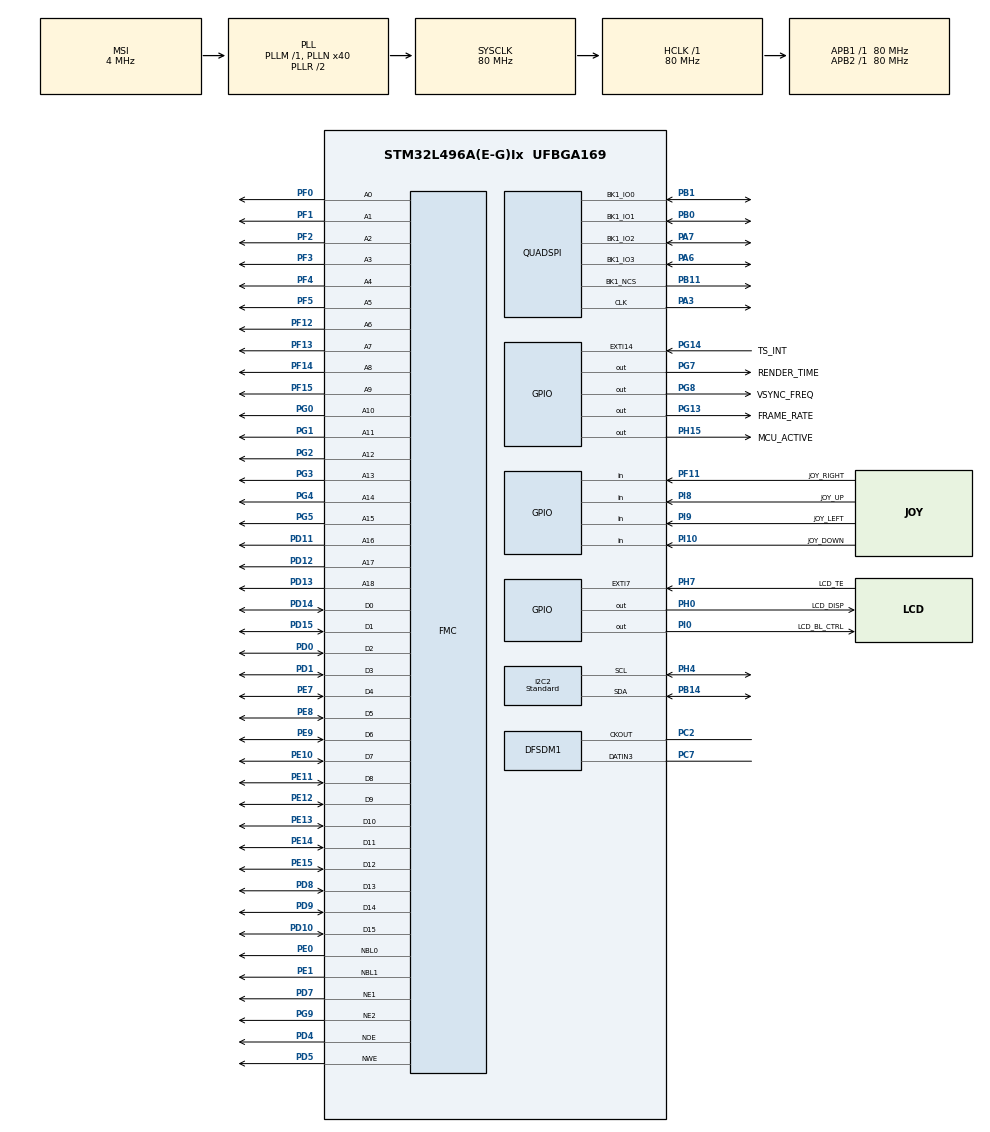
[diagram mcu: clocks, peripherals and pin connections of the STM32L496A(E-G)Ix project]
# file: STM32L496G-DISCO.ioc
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DFSDM1.Divider=25
DFSDM1.DmaMode_reg_FIL0=ENABLE
DFSDM1.FastMode_reg_FIL0=ENABLE
DFSDM1.Filter_regChannel_FIL0=DFSDM_CHANNEL_2
DFSDM1.Fosr_FIL0=256
DFSDM1.Iosr_FIL0=1
DFSDM1.RightBitShift_CH2=0x02
DFSDM1.Selection=DFSDM_CHANNEL_OUTPUT_CLOCK_SYSTEM
DFSDM1.SincOrder_FIL0=DFSDM_FILTER_SINC3_ORDER
DMA2D.ColorMode=DMA2D_OUTPUT_RGB565
DMA2D.Mode=DMA2D_R2M
Dma.DFSDM1_FLT0.0.Direction=DMA_PERIPH_TO_MEMORY
Dma.DFSDM1_FLT0.0.Instance=DMA1_Channel4
Dma.DFSDM1_FLT0.0.MemDataAlignment=DMA_MDATAALIGN_WORD
Dma.DFSDM1_FLT0.0.MemInc=DMA_MINC_ENABLE
Dma.DFSDM1_FLT0.0.Mode=DMA_CIRCULAR
Dma.DFSDM1_FLT0.0.PeriphDataAlignment=DMA_PDATAALIGN_WORD
Dma.DFSDM1_FLT0.0.PeriphInc=DMA_PINC_DISABLE
Dma.DFSDM1_FLT0.0.Priority=DMA_PRIORITY_LOW
Dma.Request0=DFSDM1_FLT0
FMC.AddressSetupTime1=5
FMC.AddressSetupTime2=5
FMC.BusTurnAroundDuration1=0
FMC.BusTurnAroundDuration2=1
FMC.DataSetupTime1=3
FMC.DataSetupTime2=3
FMC.ExtendedMode1=FMC_EXTENDED_MODE_DISABLE
FMC.ExtendedMode2=FMC_EXTENDED_MODE_DISABLE
FMC.WriteFifo1=FMC_WRITE_FIFO_DISABLE
FMC.WriteFifo2=FMC_WRITE_FIFO_DISABLE
FMC.WriteFifo3=FMC_WRITE_FIFO_DISABLE
FMC.WriteFifo4=FMC_WRITE_FIFO_DISABLE
FMC.WriteOperation2=FMC_WRITE_OPERATION_ENABLE
I2C2.Analog_Filter=I2C_ANALOGFILTER_DISABLE
I2C2.I2C_Coeff_DF=0
I2C2.I2C_Fall_Time=0
I2C2.I2C_Rise_Time=0
I2C2.I2C_Speed_Mode=I2C_Standard
I2C2.OwnAddress=0
I2C2.Timing=0x10909EEE
Mcu.Family=STM32L4
Mcu.Name=STM32L496A(E-G)Ix
Mcu.Package=UFBGA169
NVIC.DMA1_Channel4_IRQn=true\:0\:0\:false\:false\:true\:false\:true\:true
NVIC.DMA2D_IRQn=true\:6\:0\:true\:false\:true\:true\:true\:true
NVIC.EXTI15_10_IRQn=true\:0\:0\:false\:false\:true\:true\:true\:true
NVIC.EXTI9_5_IRQn=true\:5\:0\:true\:false\:true\:true\:true\:true
NVIC.I2C2_EV_IRQn=true\:0\:0\:true\:false\:true\:true\:true\:true
NVIC.PriorityGroup=NVIC_PRIORITYGROUP_4
NVIC.TIM6_DAC_IRQn=true\:15\:0\:false\:false\:true\:false\:true\:true
NVIC.TimeBase=TIM6_DAC_IRQn
NVIC.TimeBaseIP=TIM6
PA3.Mode=Single Bank 1
PA3.Signal=QUADSPI_CLK
PA6.Mode=Single Bank 1
PA6.Signal=QUADSPI_BK1_IO3
PA7.Mode=Single Bank 1
PA7.Signal=QUADSPI_BK1_IO2
PB0.Mode=Single Bank 1
PB0.Signal=QUADSPI_BK1_IO1
PB1.Mode=Single Bank 1
PB1.Signal=QUADSPI_BK1_IO0
PB11.Mode=Single Bank 1
PB11.Signal=QUADSPI_BK1_NCS
PB12.Signal=S_DATAIN1DFSDM1
PB14.GPIO_Pu=GPIO_PULLUP
PB14.Mode=I2C
PB14.Signal=I2C2_SDA
PC14-OSC32_IN\ (PC14).Mode=LSE-External-Oscillator
PC14-OSC32_IN\ (PC14).Signal=RCC_OSC32_IN
PC15-OSC32_OUT\ (PC15).Mode=LSE-External-Oscillator
PC15-OSC32_OUT\ (PC15).Signal=RCC_OSC32_OUT
PC2.Signal=S_CKOUTDFSDM1
PC7.Signal=S_DATAIN3DFSDM1
PD0.Signal=FMC_D2_DA2
PD1.Signal=FMC_D3_DA3
PD10.Signal=FMC_D15_DA15
PD11.Signal=FMC_A16_CLE
PD12.Signal=FMC_A17_ALE
PD13.Signal=FMC_A18
PD14.Signal=FMC_D0_DA0
PD15.Signal=FMC_D1_DA1
PD4.Signal=FMC_NOE
PD5.Signal=FMC_NWE
PD7.Mode=NorPsramChipSelect1_1
PD7.Signal=FMC_NE1
PD8.Signal=FMC_D13_DA13
PD9.Signal=FMC_D14_DA14
PE0.Signal=FMC_NBL0
PE1.Signal=FMC_NBL1
PE10.Signal=FMC_D7_DA7
PE11.Signal=FMC_D8_DA8
PE12.Signal=FMC_D9_DA9
PE13.Signal=FMC_D10_DA10
PE14.Signal=FMC_D11_DA11
PE15.Signal=FMC_D12_DA12
PE7.Signal=FMC_D4_DA4
PE8.Signal=FMC_D5_DA5
PE9.Signal=FMC_D6_DA6
PF0.Signal=FMC_A0
PF1.Signal=FMC_A1
PF11.GPIO_Label=JOY_RIGHT
PF11.GPIO_PuPd=GPIO_PULLDOWN
PF11.Signal=GPIO_Input
PF12.Signal=FMC_A6
PF13.Signal=FMC_A7
PF14.Signal=FMC_A8
PF15.Signal=FMC_A9
PF2.Signal=FMC_A2
PF3.Signal=FMC_A3
PF4.Signal=FMC_A4
PF5.Signal=FMC_A5
PG0.Signal=FMC_A10
PG1.Signal=FMC_A11
PG13.GPIO_Label=FRAME_RATE
PG13.GPIO_Speed=GPIO_SPEED_FREQ_VERY_HIGH
PG13.Signal=GPIO_Output
PG14.GPIO_Label=TS_INT
PG14.GPIO_ModeDefaultEXTI=GPIO_MODE_IT_FALLING
PG14.Signal=GPXTI14
PG2.Signal=FMC_A12
PG3.Signal=FMC_A13
PG4.Signal=FMC_A14
PG5.Signal=FMC_A15
PG7.GPIO_Label=RENDER_TIME
PG7.GPIO_Speed=GPIO_SPEED_FREQ_VERY_HIGH
PG7.Signal=GPIO_Output
PG8.GPIO_Label=VSYNC_FREQ
PG8.GPIO_Speed=GPIO_SPEED_FREQ_VERY_HIGH
PG8.Signal=GPIO_Output
PG9.Mode=NorPsramChipSelect2_2
PG9.Signal=FMC_NE2
PH0-OSC_IN\ (PH0).GPIO_Label=LCD_DISP
PH0-OSC_IN\ (PH0).PinState=GPIO_PIN_SET
PH0-OSC_IN\ (PH0).Signal=GPIO_Output
PH15.GPIO_Label=MCU_ACTIVE
PH15.GPIO_Speed=GPIO_SPEED_FREQ_VERY_HIGH
PH15.Signal=GPIO_Output
PH4.GPIO_Pu=GPIO_PULLUP
PH4.Mode=I2C
PH4.Signal=I2C2_SCL
PH7.GPIO_Label=LCD_TE
PH7.GPIO_ModeDefaultEXTI=GPIO_MODE_IT_RISING_FALLING
PH7.Signal=GPXTI7
PI0.GPIO_Label=LCD_BL_CTRL
PI0.GPIO_Speed=GPIO_SPEED_FREQ_LOW
PI0.PinState=GPIO_PIN_SET
PI0.Signal=GPIO_Output
PI10.GPIO_Label=JOY_DOWN
PI10.GPIO_PuPd=GPIO_PULLDOWN
PI10.Signal=GPIO_Input
PI8.GPIO_Label=JOY_UP
PI8.GPIO_PuPd=GPIO_PULLDOWN
PI8.Signal=GPIO_Input
PI9.GPIO_Label=JOY_LEFT
PI9.GPIO_PuPd=GPIO_PULLDOWN
PI9.Signal=GPIO_Input
ProjectManager.HeapSize=0x400
ProjectManager.StackSize=0x400
ProjectManager.TargetToolchain=CMake
QUADSPI.ClockPrescaler=2
QUADSPI.FifoThreshold=4
QUADSPI.FlashSize=22
QUADSPI.SampleShifting=QSPI_SAMPLE_SHIFTING_HALFCYCLE
RCC.AHBFreq_Value=80000000
RCC.APB1Freq_Value=80000000
RCC.APB1TimFreq_Value=80000000
RCC.APB2Freq_Value=80000000
RCC.APB2TimFreq_Value=80000000
RCC.CortexFreq_Value=80000000
RCC.DFSDMCLockSelection=RCC_DFSDM1CLKSOURCE_SYSCLK
RCC.HCLKFreq_Value=80000000
RCC.HSE_VALUE=8000000
RCC.HSI48_VALUE=48000000
RCC.HSI_VALUE=16000000
RCC.MSI_VALUE=4000000
RCC.PLLN=40
RCC.SYSCLKFreq_VALUE=80000000
RCC.SYSCLKSource=RCC_SYSCLKSOURCE_PLLCLK
RCC.VCOOutputFreq_Value=160000000
SH.FMC_A0.0=FMC_A0,18b-a2
SH.FMC_A1.0=FMC_A1,18b-a2
SH.FMC_A10.0=FMC_A10,18b-a2
SH.FMC_A11.0=FMC_A11,18b-a2
SH.FMC_A12.0=FMC_A12,18b-a2
SH.FMC_A13.0=FMC_A13,18b-a2
SH.FMC_A14.0=FMC_A14,18b-a2
SH.FMC_A15.0=FMC_A15,18b-a2
SH.FMC_A16_CLE.0=FMC_A16,18b-a2
SH.FMC_A17_ALE.0=FMC_A17,18b-a2
SH.FMC_A18.0=FMC_A18,A18_1
SH.FMC_A2.0=FMC_A2,18b-a2
SH.FMC_A3.0=FMC_A3,18b-a2
SH.FMC_A4.0=FMC_A4,18b-a2
SH.FMC_A5.0=FMC_A5,18b-a2
SH.FMC_A6.0=FMC_A6,18b-a2
SH.FMC_A7.0=FMC_A7,18b-a2
SH.FMC_A8.0=FMC_A8,18b-a2
SH.FMC_A9.0=FMC_A9,18b-a2
SH.FMC_D0_DA0.0=FMC_D0,16b-d2
SH.FMC_D0_DA0.1=FMC_D0,16b-d1
SH.FMC_D10_DA10.0=FMC_D10,16b-d2
SH.FMC_D10_DA10.1=FMC_D10,16b-d1
SH.FMC_D11_DA11.0=FMC_D11,16b-d2
SH.FMC_D11_DA11.1=FMC_D11,16b-d1
SH.FMC_D12_DA12.0=FMC_D12,16b-d2
SH.FMC_D12_DA12.1=FMC_D12,16b-d1
SH.FMC_D13_DA13.0=FMC_D13,16b-d2
SH.FMC_D13_DA13.1=FMC_D13,16b-d1
SH.FMC_D14_DA14.0=FMC_D14,16b-d2
SH.FMC_D14_DA14.1=FMC_D14,16b-d1
SH.FMC_D15_DA15.0=FMC_D15,16b-d2
SH.FMC_D15_DA15.1=FMC_D15,16b-d1
SH.FMC_D1_DA1.0=FMC_D1,16b-d2
SH.FMC_D1_DA1.1=FMC_D1,16b-d1
SH.FMC_D2_DA2.0=FMC_D2,16b-d2
SH.FMC_D2_DA2.1=FMC_D2,16b-d1
SH.FMC_D3_DA3.0=FMC_D3,16b-d2
SH.FMC_D3_DA3.1=FMC_D3,16b-d1
SH.FMC_D4_DA4.0=FMC_D4,16b-d2
SH.FMC_D4_DA4.1=FMC_D4,16b-d1
SH.FMC_D5_DA5.0=FMC_D5,16b-d2
SH.FMC_D5_DA5.1=FMC_D5,16b-d1
SH.FMC_D6_DA6.0=FMC_D6,16b-d2
SH.FMC_D6_DA6.1=FMC_D6,16b-d1
SH.FMC_D7_DA7.0=FMC_D7,16b-d2
SH.FMC_D7_DA7.1=FMC_D7,16b-d1
SH.FMC_D8_DA8.0=FMC_D8,16b-d2
SH.FMC_D8_DA8.1=FMC_D8,16b-d1
SH.FMC_D9_DA9.0=FMC_D9,16b-d2
SH.FMC_D9_DA9.1=FMC_D9,16b-d1
SH.FMC_NBL0.0=FMC_NBL0,2ByteEnable2
SH.FMC_NBL1.0=FMC_NBL1,2ByteEnable2
SH.FMC_NOE.0=FMC_NOE,Lcd1
SH.FMC_NOE.1=FMC_NOE,Sram2
SH.FMC_NWE.0=FMC_NWE,Lcd1
SH.FMC_NWE.1=FMC_NWE,Sram2
SH.S_CKOUTDFSDM1.0=DFSDM1_CKOUT,CKOUT
SH.S_CKOUTDFSDM1.1=DFSDM1_CKOUT,PDM_SPI_Input_from_ch23_and_Internal_Clock
SH.S_DATAIN1DFSDM1.0=DFSDM1_DATIN1
SH.S_DATAIN3DFSDM1.0=DFSDM1_DATIN3,PDM_SPI_Input_from_ch23_and_Internal_Clock
STMicroelectronics.X-CUBE-TOUCHGFX.4.26.0.ApplicationCcGraphicsJjApplication=TouchGFXOoGenerator
STMicroelectronics.X-CUBE-TOUCHGFX.4.26.0.tgfx_address1=0x64000000
STMicroelectronics.X-CUBE-TOUCHGFX.4.26.0.tgfx_custom_height=240
STMicroelectronics.X-CUBE-TOUCHGFX.4.26.0.tgfx_custom_width=240
STMicroelectronics.X-CUBE-TOUCHGFX.4.26.0.tgfx_display_interface=disp_fmc
STMicroelectronics.X-CUBE-TOUCHGFX.4.26.0.tgfx_fmc_reg_address=0x60000000
STMicroelectronics.X-CUBE-TOUCHGFX.4.26.0.tgfx_hardware_accelerator=dma_2d
STMicroelectronics.X-CUBE-TOUCHGFX.4.26.0.tgfx_location=Allocate
STMicroelectronics.X-CUBE-TOUCHGFX.4.26.0.tgfx_vector_fonts=Enabled
STMicroelectronics.X-CUBE-TOUCHGFX.4.26.0.tgfx_vector_rendering=Software
VP_CRC_VS_CRC.Mode=CRC_Activate
VP_DMA2D_VS_DMA2D.Mode=DMA2D_Activate
VP_STMicroelectronics.X-CUBE-TOUCHGFX_VS_GraphicsJjApplication_4.26.0.Mode=GraphicsJjApplication
VP_SYS_VS_tim6.Mode=TIM6
board=custom

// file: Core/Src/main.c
/* USER CODE BEGIN Header */
/**
  ******************************************************************************
  * @file           : main.c
  * @brief          : Main program body
  ******************************************************************************
  * @attention
  *
  * <h2><center>&copy; Copyright (c) 2020 STMicroelectronics.
  * All rights reserved.</center></h2>
  *
  * This software component is licensed by ST under Ultimate Liberty license
  * SLA0044, the "License"; You may not use this file except in compliance with
  * the License. You may obtain a copy of the License at:
  *                             www.st.com/SLA0044
  *
  ******************************************************************************
  */
/* USER CODE END Header */
#include "main.h"
#include "app_touchgfx.h"

/* USER CODE BEGIN Includes */
#include "arm_math_types.h"
#include "dsp/transform_functions.h"
#include "stm32l4xx_hal.h"
#include "stm32l4xx_hal_dfsdm.h"
#include "stm32l4xx_hal_dma.h"
#include <stdint.h>
#if !defined(USE_BSP_DRIVER)
#include "../mx25r6435f/mx25r6435f.h"
#else
#include "stm32l496g_discovery.h"
#include "stm32l496g_discovery_io.h"
#include "stm32l496g_discovery_qspi.h"
#include "stm32l496g_discovery_lcd.h"
#endif /* ! USE_BSP_DRIVER */
#include <gui/common/ui_bridge.h>
#include <stdbool.h>
#include "arm_math.h"
#include "dpoae.h"
/* USER CODE END Includes */

/* USER CODE BEGIN PD */
/* QSPI Error codes */
#define QSPI_OK            ((uint8_t)0x00)
#define QSPI_ERROR         ((uint8_t)0x01)
#define QSPI_BUSY          ((uint8_t)0x02)
#define QSPI_NOT_SUPPORTED ((uint8_t)0x04)
#define QSPI_SUSPENDED     ((uint8_t)0x08)

#define QSPI_QUAD_DISABLE       0x0
#define QSPI_QUAD_ENABLE        0x1

#define QSPI_HIGH_PERF_DISABLE  0x0
#define QSPI_HIGH_PERF_ENABLE   0x1
/* USER CODE END PD */

CRC_HandleTypeDef hcrc;

DFSDM_Filter_HandleTypeDef hdfsdm1_filter0;
DFSDM_Channel_HandleTypeDef hdfsdm1_channel2;
DMA_HandleTypeDef hdma_dfsdm1_flt0;

DMA2D_HandleTypeDef hdma2d;

I2C_HandleTypeDef hi2c2;

QSPI_HandleTypeDef hqspi;

SRAM_HandleTypeDef hsram1;
SRAM_HandleTypeDef hsram2;

void SystemClock_Config(void);
static void MX_GPIO_Init(void);
static void MX_DMA_Init(void);
static void MX_CRC_Init(void);
static void MX_DMA2D_Init(void);
static void MX_QUADSPI_Init(void);
static void MX_FMC_Init(void);
static void MX_DFSDM1_Init(void);
/* USER CODE BEGIN PFP */
#if !defined(USE_BSP_DRIVER)
static uint8_t QSPI_ResetMemory(QSPI_HandleTypeDef *hqspi);
static uint8_t QSPI_WriteEnable(QSPI_HandleTypeDef *hqspi);
static uint8_t QSPI_AutoPollingMemReady(QSPI_HandleTypeDef *hqspi, uint32_t Timeout);
static uint8_t QSPI_QuadMode(QSPI_HandleTypeDef *hqspi, uint8_t Operation);
static uint8_t QSPI_HighPerfMode(QSPI_HandleTypeDef *hqspi, uint8_t Operation);
#endif /* ! USE_BSP_DRIVER */
extern void TouchGFX_TickHandler(uint8_t PinStatus);
/* USER CODE END PFP */

/* USER CODE BEGIN 0 */
#define MIC_BUFFER_SIZE 1024

//target buffer for DMA
uint32_t mic_data[MIC_BUFFER_SIZE];

// checks that DFSDM has sensical data
bool mic_ready = false;

//Double buffering to ensure we are aligned to a waveform period
// - double buffering is not continuous, as requested by superloop
bool request_mic_data = false;
bool request_mic_data_2 = false;
bool request_done = true;
uint32_t mic_buf[MIC_BUFFER_SIZE] = {0};

uint32_t mic_max = 0;
uint32_t mic_min = 4294967295;
void request_mic_buffer(){
  request_done = false;
  request_mic_data = true;
}
void HAL_DFSDM_FilterRegConvCpltCallback(DFSDM_Filter_HandleTypeDef *hdfsdm_filter){
    if (!mic_ready) {
      if (mic_data[MIC_BUFFER_SIZE-1] < 0x00FFFFFF) mic_ready = true;
    } else {
      if (request_mic_data_2) {
        for (int i = MIC_BUFFER_SIZE/2; i < MIC_BUFFER_SIZE; i++) {
          mic_buf[i] = mic_data[i];
        }
        request_mic_data_2 = false;
        request_done = true;
      }
    }
}
void HAL_DFSDM_FilterRegConvHalfCpltCallback(DFSDM_Filter_HandleTypeDef *hdfsdm_filter){
    if (mic_ready){
      if (request_mic_data) {
        for (int i =0; i < MIC_BUFFER_SIZE/2; i++) {
          mic_buf[i] = mic_data[i];
        }
        request_mic_data = false;
        request_mic_data_2 = true;
      }
    }
}
arm_rfft_fast_instance_f32 fft;
float32_t fft_output[MIC_BUFFER_SIZE/2];
float32_t temp1[MIC_BUFFER_SIZE];
float32_t temp2[MIC_BUFFER_SIZE];
float32_t outbuf[DISPBUF_SIZE];
uint32_t avg_buf[MIC_BUFFER_SIZE];
int avg_count = 0;
/* USER CODE END 0 */

int main(void)
{

  /* MCU Configuration--------------------------------------------------------*/

  /* Reset of all peripherals, Initializes the Flash interface and the Systick. */
  HAL_Init();

  /* Configure the system clock */
  SystemClock_Config();

  /* Initialize all configured peripherals */
  MX_GPIO_Init();
  MX_DMA_Init();
  MX_CRC_Init();
  MX_I2C2_Init();
  MX_DMA2D_Init();
  MX_QUADSPI_Init();
  MX_FMC_Init();
  MX_DFSDM1_Init();
  MX_TouchGFX_Init();
  /* USER CODE BEGIN 2 */
  arm_rfft_fast_init_f32(&fft,MIC_BUFFER_SIZE);
  HAL_DFSDM_FilterRegularStart_DMA(&hdfsdm1_filter0, (int32_t *)mic_data, MIC_BUFFER_SIZE);
  request_mic_buffer();
  /* USER CODE END 2 */

  /* Infinite loop */
  /* USER CODE BEGIN WHILE */
  while (1)
  {
    MX_TouchGFX_Process();
    /* USER CODE END WHILE */

    /* USER CODE BEGIN 3 */
    if (mic_ready && request_done) {
      if (!ui.wavemode) {
        // check if buffer is any good
        if (sample_good(mic_buf, MIC_BUFFER_SIZE, &fft, temp1, temp2, fft_output)) {
          if (avg_count < 10){//10 samples max
            for (int i = 0; i < MIC_BUFFER_SIZE; i++) {
              avg_buf[i] += mic_buf[i];
            }
            avg_count++;
          } else {
            do_fft(&fft, avg_buf, outbuf, MIC_BUFFER_SIZE, temp1, temp2);
            for (int i = 0; i < DISPBUF_SIZE; i++) {
              outbuf[i] = fft_output[i+20]; // skip high noise bins
            }
            for (int i = 0; i < MIC_BUFFER_SIZE; i++) {
              avg_buf[i] = mic_buf[i];
            }
            avg_count = 0;
          }
        }
      } else {
        for (int i = 0; i < DISPBUF_SIZE; i++) {
          outbuf[i] = (float32_t) mic_buf[i];
        }
      }
      autofit(outbuf, ui.dispbuf, DISPBUF_SIZE, 128);
      request_mic_buffer();
    }
  }
  /* USER CODE END 3 */
}

void SystemClock_Config(void)
{
  RCC_OscInitTypeDef RCC_OscInitStruct = {0};
  RCC_ClkInitTypeDef RCC_ClkInitStruct = {0};

  /** Configure the main internal regulator output voltage
  */
  if (HAL_PWREx_ControlVoltageScaling(PWR_REGULATOR_VOLTAGE_SCALE1) != HAL_OK)
  {
    Error_Handler();
  }

  /** Initializes the RCC Oscillators according to the specified parameters
  * in the RCC_OscInitTypeDef structure.
  */
  RCC_OscInitStruct.OscillatorType = RCC_OSCILLATORTYPE_MSI;
  RCC_OscInitStruct.MSIState = RCC_MSI_ON;
  RCC_OscInitStruct.MSICalibrationValue = 0;
  RCC_OscInitStruct.MSIClockRange = RCC_MSIRANGE_6;
  RCC_OscInitStruct.PLL.PLLState = RCC_PLL_ON;
  RCC_OscInitStruct.PLL.PLLSource = RCC_PLLSOURCE_MSI;
  RCC_OscInitStruct.PLL.PLLM = 1;
  RCC_OscInitStruct.PLL.PLLN = 40;
  RCC_OscInitStruct.PLL.PLLP = RCC_PLLP_DIV2;
  RCC_OscInitStruct.PLL.PLLQ = RCC_PLLQ_DIV2;
  RCC_OscInitStruct.PLL.PLLR = RCC_PLLR_DIV2;
  if (HAL_RCC_OscConfig(&RCC_OscInitStruct) != HAL_OK)
  {
    Error_Handler();
  }

  /** Initializes the CPU, AHB and APB buses clocks
  */
  RCC_ClkInitStruct.ClockType = RCC_CLOCKTYPE_HCLK|RCC_CLOCKTYPE_SYSCLK
                              |RCC_CLOCKTYPE_PCLK1|RCC_CLOCKTYPE_PCLK2;
  RCC_ClkInitStruct.SYSCLKSource = RCC_SYSCLKSOURCE_PLLCLK;
  RCC_ClkInitStruct.AHBCLKDivider = RCC_SYSCLK_DIV1;
  RCC_ClkInitStruct.APB1CLKDivider = RCC_HCLK_DIV1;
  RCC_ClkInitStruct.APB2CLKDivider = RCC_HCLK_DIV1;

  if (HAL_RCC_ClockConfig(&RCC_ClkInitStruct, FLASH_LATENCY_4) != HAL_OK)
  {
    Error_Handler();
  }
}

static void MX_CRC_Init(void)
{

  hcrc.Instance = CRC;
  hcrc.Init.DefaultPolynomialUse = DEFAULT_POLYNOMIAL_ENABLE;
  hcrc.Init.DefaultInitValueUse = DEFAULT_INIT_VALUE_ENABLE;
  hcrc.Init.InputDataInversionMode = CRC_INPUTDATA_INVERSION_NONE;
  hcrc.Init.OutputDataInversionMode = CRC_OUTPUTDATA_INVERSION_DISABLE;
  hcrc.InputDataFormat = CRC_INPUTDATA_FORMAT_BYTES;
  if (HAL_CRC_Init(&hcrc) != HAL_OK)
  {
    Error_Handler();
  }

}

static void MX_DFSDM1_Init(void)
{

  hdfsdm1_filter0.Instance = DFSDM1_Filter0;
  hdfsdm1_filter0.Init.RegularParam.Trigger = DFSDM_FILTER_SW_TRIGGER;
  hdfsdm1_filter0.Init.RegularParam.FastMode = ENABLE;
  hdfsdm1_filter0.Init.RegularParam.DmaMode = ENABLE;
  hdfsdm1_filter0.Init.FilterParam.SincOrder = DFSDM_FILTER_SINC3_ORDER;
  hdfsdm1_filter0.Init.FilterParam.Oversampling = 256;
  hdfsdm1_filter0.Init.FilterParam.IntOversampling = 1;
  if (HAL_DFSDM_FilterInit(&hdfsdm1_filter0) != HAL_OK)
  {
    Error_Handler();
  }
  hdfsdm1_channel2.Instance = DFSDM1_Channel2;
  hdfsdm1_channel2.Init.OutputClock.Activation = ENABLE;
  hdfsdm1_channel2.Init.OutputClock.Selection = DFSDM_CHANNEL_OUTPUT_CLOCK_SYSTEM;
  hdfsdm1_channel2.Init.OutputClock.Divider = 25;
  hdfsdm1_channel2.Init.Input.Multiplexer = DFSDM_CHANNEL_EXTERNAL_INPUTS;
  hdfsdm1_channel2.Init.Input.DataPacking = DFSDM_CHANNEL_STANDARD_MODE;
  hdfsdm1_channel2.Init.Input.Pins = DFSDM_CHANNEL_FOLLOWING_CHANNEL_PINS;
  hdfsdm1_channel2.Init.SerialInterface.Type = DFSDM_CHANNEL_SPI_RISING;
  hdfsdm1_channel2.Init.SerialInterface.SpiClock = DFSDM_CHANNEL_SPI_CLOCK_INTERNAL;
  hdfsdm1_channel2.Init.Awd.FilterOrder = DFSDM_CHANNEL_FASTSINC_ORDER;
  hdfsdm1_channel2.Init.Awd.Oversampling = 1;
  hdfsdm1_channel2.Init.Offset = 0;
  hdfsdm1_channel2.Init.RightBitShift = 0x02;
  if (HAL_DFSDM_ChannelInit(&hdfsdm1_channel2) != HAL_OK)
  {
    Error_Handler();
  }
  if (HAL_DFSDM_FilterConfigRegChannel(&hdfsdm1_filter0, DFSDM_CHANNEL_2, DFSDM_CONTINUOUS_CONV_ON) != HAL_OK)
  {
    Error_Handler();
  }

}

static void MX_DMA2D_Init(void)
{

  hdma2d.Instance = DMA2D;
  hdma2d.Init.Mode = DMA2D_R2M;
  hdma2d.Init.ColorMode = DMA2D_OUTPUT_RGB565;
  hdma2d.Init.OutputOffset = 0;
  if (HAL_DMA2D_Init(&hdma2d) != HAL_OK)
  {
    Error_Handler();
  }

}

void MX_I2C2_Init(void)
{

  hi2c2.Instance = I2C2;
  hi2c2.Init.Timing = 0x10909EEE;
  hi2c2.Init.OwnAddress1 = 0;
  hi2c2.Init.AddressingMode = I2C_ADDRESSINGMODE_7BIT;
  hi2c2.Init.DualAddressMode = I2C_DUALADDRESS_DISABLE;
  hi2c2.Init.OwnAddress2 = 0;
  hi2c2.Init.OwnAddress2Masks = I2C_OA2_NOMASK;
  hi2c2.Init.GeneralCallMode = I2C_GENERALCALL_DISABLE;
  hi2c2.Init.NoStretchMode = I2C_NOSTRETCH_DISABLE;
  if (HAL_I2C_Init(&hi2c2) != HAL_OK)
  {
    Error_Handler();
  }

  /** Configure Analogue filter
  */
  if (HAL_I2CEx_ConfigAnalogFilter(&hi2c2, I2C_ANALOGFILTER_DISABLE) != HAL_OK)
  {
    Error_Handler();
  }

  /** Configure Digital filter
  */
  if (HAL_I2CEx_ConfigDigitalFilter(&hi2c2, 0) != HAL_OK)
  {
    Error_Handler();
  }

}

static void MX_QUADSPI_Init(void)
{

  /* USER CODE BEGIN QUADSPI_Init 0 */
#if !defined(USE_BSP_DRIVER)
  QSPI_CommandTypeDef      sCommand;
  QSPI_MemoryMappedTypeDef sMemMappedCfg;
#endif /* ! USE_BSP_DRIVER */
  /* USER CODE END QUADSPI_Init 0 */

  /* QUADSPI parameter configuration*/
  hqspi.Instance = QUADSPI;
  hqspi.Init.ClockPrescaler = 2;
  hqspi.Init.FifoThreshold = 4;
  hqspi.Init.SampleShifting = QSPI_SAMPLE_SHIFTING_HALFCYCLE;
  hqspi.Init.FlashSize = 22;
  hqspi.Init.ChipSelectHighTime = QSPI_CS_HIGH_TIME_1_CYCLE;
  hqspi.Init.ClockMode = QSPI_CLOCK_MODE_0;
  hqspi.Init.FlashID = QSPI_FLASH_ID_1;
  hqspi.Init.DualFlash = QSPI_DUALFLASH_DISABLE;
  if (HAL_QSPI_Init(&hqspi) != HAL_OK)
  {
    Error_Handler();
  }
  /* USER CODE BEGIN QUADSPI_Init 2 */
#if !defined(USE_BSP_DRIVER)
  /* QSPI memory reset */
  if (QSPI_ResetMemory(&hqspi) != QSPI_OK)
  {
    Error_Handler( );
  }

  /* QSPI quad enable */
  if (QSPI_QuadMode(&hqspi, QSPI_QUAD_ENABLE) != QSPI_OK)
  {
    Error_Handler( );
  }

  /* High performance mode enable */
  if (QSPI_HighPerfMode(&hqspi, QSPI_HIGH_PERF_ENABLE) != QSPI_OK)
  {
    Error_Handler( );
  }

  /* Re-configure the clock for the high performance mode */
  hqspi.Init.ClockPrescaler = 1; /* QSPI clock = 80MHz / (ClockPrescaler+1) = 40MHz */

  if (HAL_QSPI_Init(&hqspi) != HAL_OK)
  {
    Error_Handler( );
  }

  /* Configure the command for the read instruction */
  sCommand.InstructionMode    = QSPI_INSTRUCTION_1_LINE;
  sCommand.Instruction        = QUAD_INOUT_READ_CMD;
  sCommand.AddressMode        = QSPI_ADDRESS_4_LINES;
  sCommand.AddressSize        = QSPI_ADDRESS_24_BITS;
  sCommand.AlternateByteMode  = QSPI_ALTERNATE_BYTES_4_LINES;
  sCommand.AlternateBytesSize = QSPI_ALTERNATE_BYTES_8_BITS;
  sCommand.AlternateBytes     = MX25R6435F_ALT_BYTES_NO_PE_MODE;
  sCommand.DataMode           = QSPI_DATA_4_LINES;
  sCommand.DummyCycles        = MX25R6435F_DUMMY_CYCLES_READ_QUAD;
  sCommand.DdrMode            = QSPI_DDR_MODE_DISABLE;
  sCommand.DdrHoldHalfCycle   = QSPI_DDR_HHC_ANALOG_DELAY;
  sCommand.SIOOMode           = QSPI_SIOO_INST_EVERY_CMD;

  /* Configure the memory mapped mode */
  sMemMappedCfg.TimeOutActivation = QSPI_TIMEOUT_COUNTER_DISABLE;

  if (HAL_QSPI_MemoryMapped(&hqspi, &sCommand, &sMemMappedCfg) != HAL_OK)
  {
    Error_Handler( );
  }
#else
  /* Re-Initialize the QSPI */
  BSP_QSPI_DeInit();

  if (BSP_QSPI_Init() != QSPI_OK)
  {
    Error_Handler( );
  }
  if (BSP_QSPI_EnableMemoryMappedMode() != QSPI_OK)
  {
    Error_Handler( );
  }
  HAL_NVIC_DisableIRQ(QUADSPI_IRQn);
#endif /* ! USE_BSP_DRIVER */
  /* USER CODE END QUADSPI_Init 2 */

}

static void MX_DMA_Init(void)
{

  /* DMA controller clock enable */
  __HAL_RCC_DMA1_CLK_ENABLE();

  /* DMA interrupt init */
  /* DMA1_Channel4_IRQn interrupt configuration */
  HAL_NVIC_SetPriority(DMA1_Channel4_IRQn, 0, 0);
  HAL_NVIC_EnableIRQ(DMA1_Channel4_IRQn);

}

/* FMC initialization function */
static void MX_FMC_Init(void)
{

  FMC_NORSRAM_TimingTypeDef Timing = {0};

  /** Perform the SRAM1 memory initialization sequence
  */
  hsram1.Instance = FMC_NORSRAM_DEVICE;
  hsram1.Extended = FMC_NORSRAM_EXTENDED_DEVICE;
  /* hsram1.Init */
  hsram1.Init.NSBank = FMC_NORSRAM_BANK1;
  hsram1.Init.DataAddressMux = FMC_DATA_ADDRESS_MUX_DISABLE;
  hsram1.Init.MemoryType = FMC_MEMORY_TYPE_SRAM;
  hsram1.Init.MemoryDataWidth = FMC_NORSRAM_MEM_BUS_WIDTH_16;
  hsram1.Init.BurstAccessMode = FMC_BURST_ACCESS_MODE_DISABLE;
  hsram1.Init.WaitSignalPolarity = FMC_WAIT_SIGNAL_POLARITY_LOW;
  hsram1.Init.WaitSignalActive = FMC_WAIT_TIMING_BEFORE_WS;
  hsram1.Init.WriteOperation = FMC_WRITE_OPERATION_ENABLE;
  hsram1.Init.WaitSignal = FMC_WAIT_SIGNAL_DISABLE;
  hsram1.Init.ExtendedMode = FMC_EXTENDED_MODE_DISABLE;
  hsram1.Init.AsynchronousWait = FMC_ASYNCHRONOUS_WAIT_DISABLE;
  hsram1.Init.WriteBurst = FMC_WRITE_BURST_DISABLE;
  hsram1.Init.ContinuousClock = FMC_CONTINUOUS_CLOCK_SYNC_ONLY;
  hsram1.Init.WriteFifo = FMC_WRITE_FIFO_DISABLE;
  hsram1.Init.PageSize = FMC_PAGE_SIZE_NONE;
  /* Timing */
  Timing.AddressSetupTime = 5;
  Timing.AddressHoldTime = 15;
  Timing.DataSetupTime = 3;
  Timing.BusTurnAroundDuration = 0;
  Timing.CLKDivision = 16;
  Timing.DataLatency = 17;
  Timing.AccessMode = FMC_ACCESS_MODE_A;
  /* ExtTiming */

  if (HAL_SRAM_Init(&hsram1, &Timing, NULL) != HAL_OK)
  {
    Error_Handler( );
  }

  /** Perform the SRAM2 memory initialization sequence
  */
  hsram2.Instance = FMC_NORSRAM_DEVICE;
  hsram2.Extended = FMC_NORSRAM_EXTENDED_DEVICE;
  /* hsram2.Init */
  hsram2.Init.NSBank = FMC_NORSRAM_BANK2;
  hsram2.Init.DataAddressMux = FMC_DATA_ADDRESS_MUX_DISABLE;
  hsram2.Init.MemoryType = FMC_MEMORY_TYPE_SRAM;
  hsram2.Init.MemoryDataWidth = FMC_NORSRAM_MEM_BUS_WIDTH_16;
  hsram2.Init.BurstAccessMode = FMC_BURST_ACCESS_MODE_DISABLE;
  hsram2.Init.WaitSignalPolarity = FMC_WAIT_SIGNAL_POLARITY_LOW;
  hsram2.Init.WaitSignalActive = FMC_WAIT_TIMING_BEFORE_WS;
  hsram2.Init.WriteOperation = FMC_WRITE_OPERATION_ENABLE;
  hsram2.Init.WaitSignal = FMC_WAIT_SIGNAL_DISABLE;
  hsram2.Init.ExtendedMode = FMC_EXTENDED_MODE_DISABLE;
  hsram2.Init.AsynchronousWait = FMC_ASYNCHRONOUS_WAIT_DISABLE;
  hsram2.Init.WriteBurst = FMC_WRITE_BURST_DISABLE;
  hsram2.Init.ContinuousClock = FMC_CONTINUOUS_CLOCK_SYNC_ONLY;
  hsram2.Init.WriteFifo = FMC_WRITE_FIFO_DISABLE;
  hsram2.Init.PageSize = FMC_PAGE_SIZE_NONE;
  /* Timing */
  Timing.AddressSetupTime = 5;
  Timing.AddressHoldTime = 15;
  Timing.DataSetupTime = 3;
  Timing.BusTurnAroundDuration = 1;
  Timing.CLKDivision = 16;
  Timing.DataLatency = 17;
  Timing.AccessMode = FMC_ACCESS_MODE_A;
  /* ExtTiming */

  if (HAL_SRAM_Init(&hsram2, &Timing, NULL) != HAL_OK)
  {
    Error_Handler( );
  }

}

static void MX_GPIO_Init(void)
{
  GPIO_InitTypeDef GPIO_InitStruct = {0};

  /* GPIO Ports Clock Enable */
  __HAL_RCC_GPIOI_CLK_ENABLE();
  __HAL_RCC_GPIOE_CLK_ENABLE();
  __HAL_RCC_GPIOG_CLK_ENABLE();
  HAL_PWREx_EnableVddIO2();
  __HAL_RCC_GPIOD_CLK_ENABLE();
  __HAL_RCC_GPIOH_CLK_ENABLE();
  __HAL_RCC_GPIOC_CLK_ENABLE();
  __HAL_RCC_GPIOF_CLK_ENABLE();
  __HAL_RCC_GPIOB_CLK_ENABLE();
  __HAL_RCC_GPIOA_CLK_ENABLE();

  /*Configure GPIO pin Output Level */
  HAL_GPIO_WritePin(LCD_BL_CTRL_GPIO_Port, LCD_BL_CTRL_Pin, GPIO_PIN_SET);

  /*Configure GPIO pin Output Level */
  HAL_GPIO_WritePin(MCU_ACTIVE_GPIO_Port, MCU_ACTIVE_Pin, GPIO_PIN_RESET);

  /*Configure GPIO pin Output Level */
  HAL_GPIO_WritePin(GPIOG, FRAME_RATE_Pin|VSYNC_FREQ_Pin|RENDER_TIME_Pin, GPIO_PIN_RESET);

  /*Configure GPIO pin Output Level */
  HAL_GPIO_WritePin(LCD_DISP_GPIO_Port, LCD_DISP_Pin, GPIO_PIN_SET);

  /*Configure GPIO pins : JOY_DOWN_Pin JOY_LEFT_Pin JOY_UP_Pin */
  GPIO_InitStruct.Pin = JOY_DOWN_Pin|JOY_LEFT_Pin|JOY_UP_Pin;
  GPIO_InitStruct.Mode = GPIO_MODE_INPUT;
  GPIO_InitStruct.Pull = GPIO_PULLDOWN;
  HAL_GPIO_Init(GPIOI, &GPIO_InitStruct);

  /*Configure GPIO pin : LCD_BL_CTRL_Pin */
  GPIO_InitStruct.Pin = LCD_BL_CTRL_Pin;
  GPIO_InitStruct.Mode = GPIO_MODE_OUTPUT_PP;
  GPIO_InitStruct.Pull = GPIO_NOPULL;
  GPIO_InitStruct.Speed = GPIO_SPEED_FREQ_LOW;
  HAL_GPIO_Init(LCD_BL_CTRL_GPIO_Port, &GPIO_InitStruct);

  /*Configure GPIO pin : MCU_ACTIVE_Pin */
  GPIO_InitStruct.Pin = MCU_ACTIVE_Pin;
  GPIO_InitStruct.Mode = GPIO_MODE_OUTPUT_PP;
  GPIO_InitStruct.Pull = GPIO_NOPULL;
  GPIO_InitStruct.Speed = GPIO_SPEED_FREQ_VERY_HIGH;
  HAL_GPIO_Init(MCU_ACTIVE_GPIO_Port, &GPIO_InitStruct);

  /*Configure GPIO pin : LCD_TE_Pin */
  GPIO_InitStruct.Pin = LCD_TE_Pin;
  GPIO_InitStruct.Mode = GPIO_MODE_IT_RISING_FALLING;
  GPIO_InitStruct.Pull = GPIO_NOPULL;
  HAL_GPIO_Init(LCD_TE_GPIO_Port, &GPIO_InitStruct);

  /*Configure GPIO pin : TS_INT_Pin */
  GPIO_InitStruct.Pin = TS_INT_Pin;
  GPIO_InitStruct.Mode = GPIO_MODE_IT_FALLING;
  GPIO_InitStruct.Pull = GPIO_NOPULL;
  HAL_GPIO_Init(TS_INT_GPIO_Port, &GPIO_InitStruct);

  /*Configure GPIO pins : FRAME_RATE_Pin VSYNC_FREQ_Pin RENDER_TIME_Pin */
  GPIO_InitStruct.Pin = FRAME_RATE_Pin|VSYNC_FREQ_Pin|RENDER_TIME_Pin;
  GPIO_InitStruct.Mode = GPIO_MODE_OUTPUT_PP;
  GPIO_InitStruct.Pull = GPIO_NOPULL;
  GPIO_InitStruct.Speed = GPIO_SPEED_FREQ_VERY_HIGH;
  HAL_GPIO_Init(GPIOG, &GPIO_InitStruct);

  /*Configure GPIO pin : LCD_DISP_Pin */
  GPIO_InitStruct.Pin = LCD_DISP_Pin;
  GPIO_InitStruct.Mode = GPIO_MODE_OUTPUT_PP;
  GPIO_InitStruct.Pull = GPIO_NOPULL;
  GPIO_InitStruct.Speed = GPIO_SPEED_FREQ_LOW;
  HAL_GPIO_Init(LCD_DISP_GPIO_Port, &GPIO_InitStruct);

  /*Configure GPIO pin : JOY_RIGHT_Pin */
  GPIO_InitStruct.Pin = JOY_RIGHT_Pin;
  GPIO_InitStruct.Mode = GPIO_MODE_INPUT;
  GPIO_InitStruct.Pull = GPIO_PULLDOWN;
  HAL_GPIO_Init(JOY_RIGHT_GPIO_Port, &GPIO_InitStruct);

  /* EXTI interrupt init*/
  HAL_NVIC_SetPriority(EXTI9_5_IRQn, 5, 0);
  HAL_NVIC_EnableIRQ(EXTI9_5_IRQn);

  HAL_NVIC_SetPriority(EXTI15_10_IRQn, 0, 0);
  HAL_NVIC_EnableIRQ(EXTI15_10_IRQn);

}

/* USER CODE BEGIN 4 */
#if !defined(USE_BSP_DRIVER)
/**
  * @brief  This function reset the QSPI memory.
  * @param  hqspi : QSPI handle
  * @retval None
  */
static uint8_t QSPI_ResetMemory(QSPI_HandleTypeDef *hqspi)
{
  QSPI_CommandTypeDef sCommand;

  /* Initialize the reset enable command */
  sCommand.InstructionMode   = QSPI_INSTRUCTION_1_LINE;
  sCommand.Instruction       = RESET_ENABLE_CMD;
  sCommand.AddressMode       = QSPI_ADDRESS_NONE;
  sCommand.AlternateByteMode = QSPI_ALTERNATE_BYTES_NONE;
  sCommand.DataMode          = QSPI_DATA_NONE;
  sCommand.DummyCycles       = 0;
  sCommand.DdrMode           = QSPI_DDR_MODE_DISABLE;
  sCommand.DdrHoldHalfCycle  = QSPI_DDR_HHC_ANALOG_DELAY;
  sCommand.SIOOMode          = QSPI_SIOO_INST_EVERY_CMD;

  /* Send the command */
  if (HAL_QSPI_Command(hqspi, &sCommand, HAL_QPSI_TIMEOUT_DEFAULT_VALUE) != HAL_OK)
  {
    return QSPI_ERROR;
  }

  /* Send the reset memory command */
  sCommand.Instruction = RESET_MEMORY_CMD;
  if (HAL_QSPI_Command(hqspi, &sCommand, HAL_QPSI_TIMEOUT_DEFAULT_VALUE) != HAL_OK)
  {
    return QSPI_ERROR;
  }

  /* Configure automatic polling mode to wait the memory is ready */
  if (QSPI_AutoPollingMemReady(hqspi, HAL_QPSI_TIMEOUT_DEFAULT_VALUE) != QSPI_OK)
  {
    return QSPI_ERROR;
  }

  return QSPI_OK;
}

/**
  * @brief  This function send a Write Enable and wait it is effective.
  * @param  hqspi : QSPI handle
  * @retval None
  */
static uint8_t QSPI_WriteEnable(QSPI_HandleTypeDef *hqspi)
{
  QSPI_CommandTypeDef     sCommand;
  QSPI_AutoPollingTypeDef sConfig;

  /* Enable write operations */
  sCommand.InstructionMode   = QSPI_INSTRUCTION_1_LINE;
  sCommand.Instruction       = WRITE_ENABLE_CMD;
  sCommand.AddressMode       = QSPI_ADDRESS_NONE;
  sCommand.AlternateByteMode = QSPI_ALTERNATE_BYTES_NONE;
  sCommand.DataMode          = QSPI_DATA_NONE;
  sCommand.DummyCycles       = 0;
  sCommand.DdrMode           = QSPI_DDR_MODE_DISABLE;
  sCommand.DdrHoldHalfCycle  = QSPI_DDR_HHC_ANALOG_DELAY;
  sCommand.SIOOMode          = QSPI_SIOO_INST_EVERY_CMD;

  if (HAL_QSPI_Command(hqspi, &sCommand, HAL_QPSI_TIMEOUT_DEFAULT_VALUE) != HAL_OK)
  {
    return QSPI_ERROR;
  }

  /* Configure automatic polling mode to wait for write enabling */
  sConfig.Match           = MX25R6435F_SR_WEL;
  sConfig.Mask            = MX25R6435F_SR_WEL;
  sConfig.MatchMode       = QSPI_MATCH_MODE_AND;
  sConfig.StatusBytesSize = 1;
  sConfig.Interval        = 0x10;
  sConfig.AutomaticStop   = QSPI_AUTOMATIC_STOP_ENABLE;

  sCommand.Instruction    = READ_STATUS_REG_CMD;
  sCommand.DataMode       = QSPI_DATA_1_LINE;

  if (HAL_QSPI_AutoPolling(hqspi, &sCommand, &sConfig, HAL_QPSI_TIMEOUT_DEFAULT_VALUE) != HAL_OK)
  {
    return QSPI_ERROR;
  }

  return QSPI_OK;
}

/**
  * @brief  This function read the SR of the memory and wait the EOP.
  * @param  hqspi   : QSPI handle
  * @param  Timeout : Timeout for auto-polling
  * @retval None
  */
static uint8_t QSPI_AutoPollingMemReady(QSPI_HandleTypeDef *hqspi, uint32_t Timeout)
{
  QSPI_CommandTypeDef     sCommand;
  QSPI_AutoPollingTypeDef sConfig;

  /* Configure automatic polling mode to wait for memory ready */
  sCommand.InstructionMode   = QSPI_INSTRUCTION_1_LINE;
  sCommand.Instruction       = READ_STATUS_REG_CMD;
  sCommand.AddressMode       = QSPI_ADDRESS_NONE;
  sCommand.AlternateByteMode = QSPI_ALTERNATE_BYTES_NONE;
  sCommand.DataMode          = QSPI_DATA_1_LINE;
  sCommand.DummyCycles       = 0;
  sCommand.DdrMode           = QSPI_DDR_MODE_DISABLE;
  sCommand.DdrHoldHalfCycle  = QSPI_DDR_HHC_ANALOG_DELAY;
  sCommand.SIOOMode          = QSPI_SIOO_INST_EVERY_CMD;

  sConfig.Match           = 0;
  sConfig.Mask            = MX25R6435F_SR_WIP;
  sConfig.MatchMode       = QSPI_MATCH_MODE_AND;
  sConfig.StatusBytesSize = 1;
  sConfig.Interval        = 0x10;
  sConfig.AutomaticStop   = QSPI_AUTOMATIC_STOP_ENABLE;

  if (HAL_QSPI_AutoPolling(hqspi, &sCommand, &sConfig, Timeout) != HAL_OK)
  {
    return QSPI_ERROR;
  }

  return QSPI_OK;
}

/**
  * @brief  This function enables/disables the Quad mode of the memory.
  * @param  hqspi     : QSPI handle
  * @param  Operation : QSPI_QUAD_ENABLE or QSPI_QUAD_DISABLE mode
  * @retval None
  */
static uint8_t QSPI_QuadMode(QSPI_HandleTypeDef *hqspi, uint8_t Operation)
{
  QSPI_CommandTypeDef sCommand;
  uint8_t reg;

  /* Read status register */
  sCommand.InstructionMode   = QSPI_INSTRUCTION_1_LINE;
  sCommand.Instruction       = READ_STATUS_REG_CMD;
  sCommand.AddressMode       = QSPI_ADDRESS_NONE;
  sCommand.AlternateByteMode = QSPI_ALTERNATE_BYTES_NONE;
  sCommand.DataMode          = QSPI_DATA_1_LINE;
  sCommand.DummyCycles       = 0;
  sCommand.NbData            = 1;
  sCommand.DdrMode           = QSPI_DDR_MODE_DISABLE;
  sCommand.DdrHoldHalfCycle  = QSPI_DDR_HHC_ANALOG_DELAY;
  sCommand.SIOOMode          = QSPI_SIOO_INST_EVERY_CMD;

  if (HAL_QSPI_Command(hqspi, &sCommand, HAL_QPSI_TIMEOUT_DEFAULT_VALUE) != HAL_OK)
  {
    return QSPI_ERROR;
  }

  if (HAL_QSPI_Receive(hqspi, &reg, HAL_QPSI_TIMEOUT_DEFAULT_VALUE) != HAL_OK)
  {
    return QSPI_ERROR;
  }

  /* Enable write operations */
  if (QSPI_WriteEnable(hqspi) != QSPI_OK)
  {
    return QSPI_ERROR;
  }

  /* Activate/deactivate the Quad mode */
  if (Operation == QSPI_QUAD_ENABLE)
  {
    SET_BIT(reg, MX25R6435F_SR_QE);
  }
  else
  {
    CLEAR_BIT(reg, MX25R6435F_SR_QE);
  }

  sCommand.Instruction = WRITE_STATUS_CFG_REG_CMD;

  if (HAL_QSPI_Command(hqspi, &sCommand, HAL_QPSI_TIMEOUT_DEFAULT_VALUE) != HAL_OK)
  {
    return QSPI_ERROR;
  }

  if (HAL_QSPI_Transmit(hqspi, &reg, HAL_QPSI_TIMEOUT_DEFAULT_VALUE) != HAL_OK)
  {
    return QSPI_ERROR;
  }

  /* Wait that memory is ready */
  if (QSPI_AutoPollingMemReady(hqspi, HAL_QPSI_TIMEOUT_DEFAULT_VALUE) != QSPI_OK)
  {
    return QSPI_ERROR;
  }

  /* Check the configuration has been correctly done */
  sCommand.Instruction = READ_STATUS_REG_CMD;

  if (HAL_QSPI_Command(hqspi, &sCommand, HAL_QPSI_TIMEOUT_DEFAULT_VALUE) != HAL_OK)
  {
    return QSPI_ERROR;
  }

  if (HAL_QSPI_Receive(hqspi, &reg, HAL_QPSI_TIMEOUT_DEFAULT_VALUE) != HAL_OK)
  {
    return QSPI_ERROR;
  }

  if ((((reg & MX25R6435F_SR_QE) == 0) && (Operation == QSPI_QUAD_ENABLE)) ||
      (((reg & MX25R6435F_SR_QE) != 0) && (Operation == QSPI_QUAD_DISABLE)))
  {
    return QSPI_ERROR;
  }

  return QSPI_OK;
}

/**
  * @brief  This function enables/disables the high performance mode of the memory.
  * @param  hqspi     : QSPI handle
  * @param  Operation : QSPI_HIGH_PERF_ENABLE or QSPI_HIGH_PERF_DISABLE high performance mode
  * @retval None
  */
static uint8_t QSPI_HighPerfMode(QSPI_HandleTypeDef *hqspi, uint8_t Operation)
{
  QSPI_CommandTypeDef sCommand;
  uint8_t reg[3];

  /* Read status register */
  sCommand.InstructionMode   = QSPI_INSTRUCTION_1_LINE;
  sCommand.Instruction       = READ_STATUS_REG_CMD;
  sCommand.AddressMode       = QSPI_ADDRESS_NONE;
  sCommand.AlternateByteMode = QSPI_ALTERNATE_BYTES_NONE;
  sCommand.DataMode          = QSPI_DATA_1_LINE;
  sCommand.DummyCycles       = 0;
  sCommand.NbData            = 1;
  sCommand.DdrMode           = QSPI_DDR_MODE_DISABLE;
  sCommand.DdrHoldHalfCycle  = QSPI_DDR_HHC_ANALOG_DELAY;
  sCommand.SIOOMode          = QSPI_SIOO_INST_EVERY_CMD;

  if (HAL_QSPI_Command(hqspi, &sCommand, HAL_QPSI_TIMEOUT_DEFAULT_VALUE) != HAL_OK)
  {
    return QSPI_ERROR;
  }

  if (HAL_QSPI_Receive(hqspi, &(reg[0]), HAL_QPSI_TIMEOUT_DEFAULT_VALUE) != HAL_OK)
  {
    return QSPI_ERROR;
  }

  /* Read configuration registers */
  sCommand.Instruction = READ_CFG_REG_CMD;
  sCommand.NbData      = 2;

  if (HAL_QSPI_Command(hqspi, &sCommand, HAL_QPSI_TIMEOUT_DEFAULT_VALUE) != HAL_OK)
  {
    return QSPI_ERROR;
  }

  if (HAL_QSPI_Receive(hqspi, &(reg[1]), HAL_QPSI_TIMEOUT_DEFAULT_VALUE) != HAL_OK)
  {
    return QSPI_ERROR;
  }

  /* Enable write operations */
  if (QSPI_WriteEnable(hqspi) != QSPI_OK)
  {
    return QSPI_ERROR;
  }

  /* Activate/deactivate the Quad mode */
  if (Operation == QSPI_HIGH_PERF_ENABLE)
  {
    SET_BIT(reg[2], MX25R6435F_CR2_LH_SWITCH);
  }
  else
  {
    CLEAR_BIT(reg[2], MX25R6435F_CR2_LH_SWITCH);
  }

  sCommand.Instruction = WRITE_STATUS_CFG_REG_CMD;
  sCommand.NbData      = 3;

  if (HAL_QSPI_Command(hqspi, &sCommand, HAL_QPSI_TIMEOUT_DEFAULT_VALUE) != HAL_OK)
  {
    return QSPI_ERROR;
  }

  if (HAL_QSPI_Transmit(hqspi, &(reg[0]), HAL_QPSI_TIMEOUT_DEFAULT_VALUE) != HAL_OK)
  {
    return QSPI_ERROR;
  }

  /* Wait that memory is ready */
  if (QSPI_AutoPollingMemReady(hqspi, HAL_QPSI_TIMEOUT_DEFAULT_VALUE) != QSPI_OK)
  {
    return QSPI_ERROR;
  }

  /* Check the configuration has been correctly done */
  sCommand.Instruction = READ_CFG_REG_CMD;
  sCommand.NbData      = 2;

  if (HAL_QSPI_Command(hqspi, &sCommand, HAL_QPSI_TIMEOUT_DEFAULT_VALUE) != HAL_OK)
  {
    return QSPI_ERROR;
  }

  if (HAL_QSPI_Receive(hqspi, &(reg[0]), HAL_QPSI_TIMEOUT_DEFAULT_VALUE) != HAL_OK)
  {
    return QSPI_ERROR;
  }

  if ((((reg[1] & MX25R6435F_CR2_LH_SWITCH) == 0) && (Operation == QSPI_HIGH_PERF_ENABLE)) ||
      (((reg[1] & MX25R6435F_CR2_LH_SWITCH) != 0) && (Operation == QSPI_HIGH_PERF_DISABLE)))
  {
    return QSPI_ERROR;
  }

  return QSPI_OK;
}
#endif /* ! USE_BSP_DRIVER */

/* USER CODE END 4 */

void HAL_TIM_PeriodElapsedCallback(TIM_HandleTypeDef *htim)
{
  if (htim->Instance == TIM6)
  {
    HAL_IncTick();
  }
}

void Error_Handler(void)
{
}
